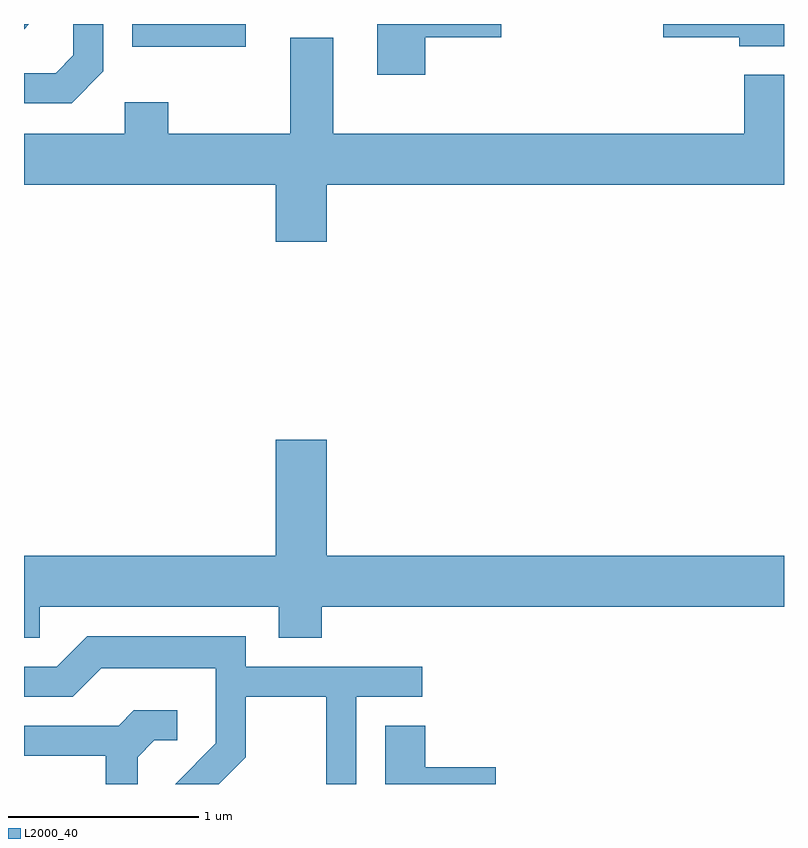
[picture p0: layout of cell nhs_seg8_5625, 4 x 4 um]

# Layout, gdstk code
import gdstk
lib = gdstk.Library(unit=1e-6, precision=1e-09)
def R(c, l, rs):  # rectangles x0, y0, x1, y1
    for r in rs: c.add(gdstk.rectangle(r[:2], r[2:], *l))
def P(c, l, *ps):  # polygons
    for p in ps: c.add(gdstk.Polygon(p, *l))
L2000_40 = (2000, 40)

nhs_seg8_5625 = lib.new_cell('nhs_seg8_5625')
R(nhs_seg8_5625, L2000_40, [(354.181,1868.221,354.779,1868.342)])
P(nhs_seg8_5625, L2000_40, [(355.724,1868.271),(356.124,1868.271),(356.124,1868.342),(355.471,1868.342),(355.471,1868.076),(355.724,1868.076)],
  [(353.637,1868.342),(353.611,1868.342),(353.611,1868.315)],
  [(354.029,1868.094),(354.029,1868.342),(353.871,1868.342),(353.871,1868.177),(353.779,1868.084),(353.611,1868.084),(353.611,1867.926),(353.862,1867.926)],
  [(357.611,1868.342),(356.976,1868.342),(356.976,1868.271),(357.376,1868.271),(357.376,1868.226),(357.611,1868.226)],
  [(355.011,1867.764),(354.369,1867.764),(354.369,1867.929),(354.141,1867.929),(354.141,1867.764),(353.611,1867.764),(353.611,1867.496),(354.936,1867.496),(354.936,1867.196),(355.204,1867.196),(355.204,1867.496),(357.611,1867.496),(357.611,1868.074),(357.401,1868.074),(357.401,1867.764),(355.239,1867.764),(355.239,1868.269),(355.011,1868.269)],
  [(353.694,1865.276),(354.951,1865.276),(354.951,1865.111),(355.179,1865.111),(355.179,1865.276),(357.611,1865.276),(357.611,1865.544),(355.204,1865.544),(355.204,1866.154),(354.936,1866.154),(354.936,1865.544),(353.611,1865.544),(353.611,1865.111),(353.694,1865.111)],
  [(354.779,1864.484),(354.779,1864.801),(355.201,1864.801),(355.201,1864.342),(355.359,1864.342),(355.359,1864.801),(355.708,1864.801),(355.708,1864.959),(354.779,1864.959),(354.779,1865.119),(353.944,1865.119),(353.784,1864.959),(353.611,1864.959),(353.611,1864.801),(353.867,1864.801),(354.017,1864.951),(354.621,1864.951),(354.621,1864.557),(354.406,1864.342),(354.637,1864.342)],
  [(354.209,1864.484),(354.297,1864.571),(354.418,1864.571),(354.418,1864.729),(354.189,1864.729),(354.109,1864.649),(353.611,1864.649),(353.611,1864.491),(354.041,1864.491),(354.041,1864.342),(354.209,1864.342)],
  [(356.094,1864.429),(355.724,1864.429),(355.724,1864.649),(355.511,1864.649),(355.511,1864.342),(356.094,1864.342)])

lib.write_gds('nhs_seg8_5625.gds')
